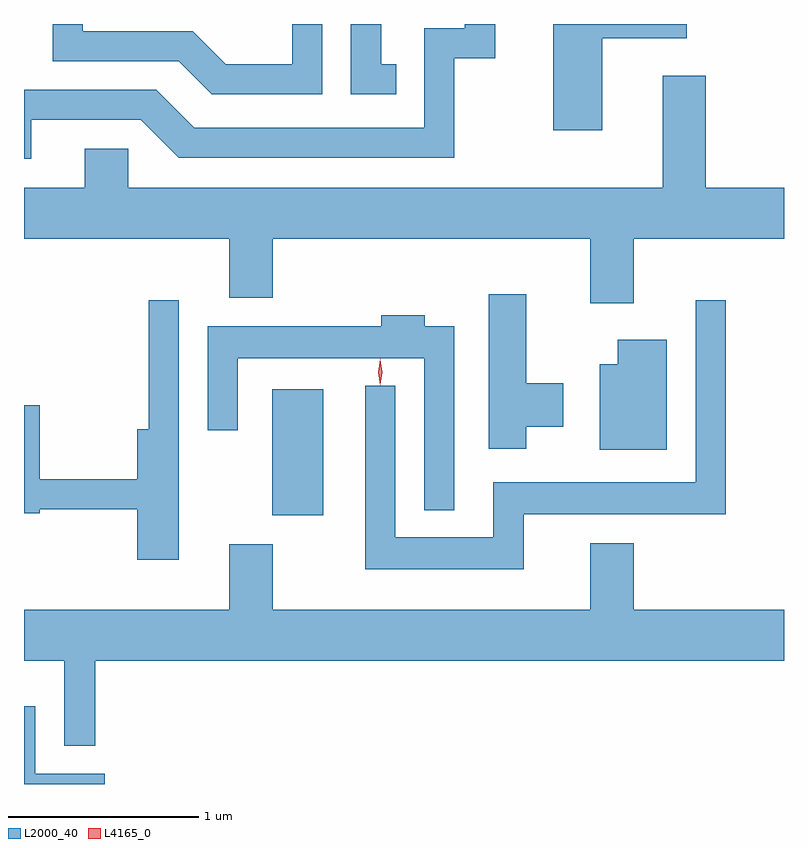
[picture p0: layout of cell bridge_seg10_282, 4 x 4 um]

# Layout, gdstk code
import gdstk
lib = gdstk.Library(unit=1e-6, precision=1e-09)
def R(c, l, rs):  # rectangles x0, y0, x1, y1
    for r in rs: c.add(gdstk.rectangle(r[:2], r[2:], *l))
def P(c, l, *ps):  # polygons
    for p in ps: c.add(gdstk.Polygon(p, *l))
L2000_40 = (2000, 40)
L4165_0 = (4165, 0)

bridge_seg10_282 = lib.new_cell('bridge_seg10_282')
R(bridge_seg10_282, L2000_40, [(1443.666,2172.401,1443.934,2173.064)])
P(bridge_seg10_282, L2000_40, [(1444.318,2174.774),(1444.239,2174.774),(1444.239,2174.986),(1444.081,2174.986),(1444.081,2174.616),(1444.318,2174.616)],
  [(1442.399,2174.481),(1442.974,2174.481),(1443.174,2174.281),(1444.624,2174.281),(1444.624,2174.806),(1444.839,2174.806),(1444.839,2174.986),(1444.681,2174.986),(1444.681,2174.964),(1444.466,2174.964),(1444.466,2174.439),(1443.257,2174.439),(1443.057,2174.639),(1442.36,2174.639),(1442.36,2174.276),(1442.399,2174.276)],
  [(1443.929,2174.986),(1443.771,2174.986),(1443.771,2174.774),(1443.422,2174.774),(1443.247,2174.949),(1442.669,2174.949),(1442.669,2174.986),(1442.511,2174.986),(1442.511,2174.791),(1443.174,2174.791),(1443.349,2174.616),(1443.929,2174.616)],
  [(1445.404,2174.911),(1445.848,2174.911),(1445.848,2174.986),(1445.146,2174.986),(1445.146,2174.426),(1445.404,2174.426)],
  [(1445.569,2173.856),(1446.36,2173.856),(1446.36,2174.124),(1445.949,2174.124),(1445.949,2174.714),(1445.721,2174.714),(1445.721,2174.124),(1442.909,2174.124),(1442.909,2174.329),(1442.681,2174.329),(1442.681,2174.124),(1442.36,2174.124),(1442.36,2173.856),(1443.441,2173.856),(1443.441,2173.546),(1443.669,2173.546),(1443.669,2173.856),(1445.341,2173.856),(1445.341,2173.516),(1445.569,2173.516)],
  [(1445.004,2172.866),(1445.199,2172.866),(1445.199,2173.094),(1445.004,2173.094),(1445.004,2173.564),(1444.806,2173.564),(1444.806,2172.751),(1445.004,2172.751)],
  [(1444.989,2172.406),(1446.054,2172.406),(1446.054,2173.533),(1445.896,2173.533),(1445.896,2172.574),(1444.831,2172.574),(1444.831,2172.284),(1444.314,2172.284),(1444.314,2173.083),(1444.156,2173.083),(1444.156,2172.116),(1444.989,2172.116)],
  [(1443.174,2173.533),(1443.016,2173.533),(1443.016,2172.854),(1442.956,2172.854),(1442.956,2172.589),(1442.444,2172.589),(1442.444,2172.979),(1442.36,2172.979),(1442.36,2172.411),(1442.444,2172.411),(1442.444,2172.431),(1442.956,2172.431),(1442.956,2172.166),(1443.174,2172.166)],
  [(1444.624,2173.394),(1444.469,2173.394),(1444.469,2173.454),(1444.241,2173.454),(1444.241,2173.394),(1443.326,2173.394),(1443.326,2172.848),(1443.484,2172.848),(1443.484,2173.226),(1444.466,2173.226),(1444.466,2172.428),(1444.624,2172.428)],
  [(1445.744,2173.324),(1445.486,2173.324),(1445.486,2173.194),(1445.391,2173.194),(1445.391,2172.746),(1445.744,2172.746)],
  [(1442.734,2171.636),(1446.36,2171.636),(1446.36,2171.904),(1445.569,2171.904),(1445.569,2172.254),(1445.341,2172.254),(1445.341,2171.904),(1443.669,2171.904),(1443.669,2172.249),(1443.441,2172.249),(1443.441,2171.904),(1442.36,2171.904),(1442.36,2171.636),(1442.571,2171.636),(1442.571,2171.188),(1442.734,2171.188)],
  [(1442.784,2171.039),(1442.419,2171.039),(1442.419,2171.394),(1442.36,2171.394),(1442.36,2170.986),(1442.784,2170.986)])
P(bridge_seg10_282, L4165_0, [(1444.234,2173.084),(1444.234,2173.084),(1444.224,2173.153),(1444.234,2173.222),(1444.234,2173.223),(1444.235,2173.222),(1444.244,2173.153),(1444.235,2173.084)],
  [(1444.235,2173.087),(1444.234,2173.088),(1444.225,2173.154),(1444.234,2173.22),(1444.235,2173.22),(1444.235,2173.22),(1444.245,2173.154),(1444.235,2173.088)])

lib.write_gds('bridge_seg10_282.gds')
